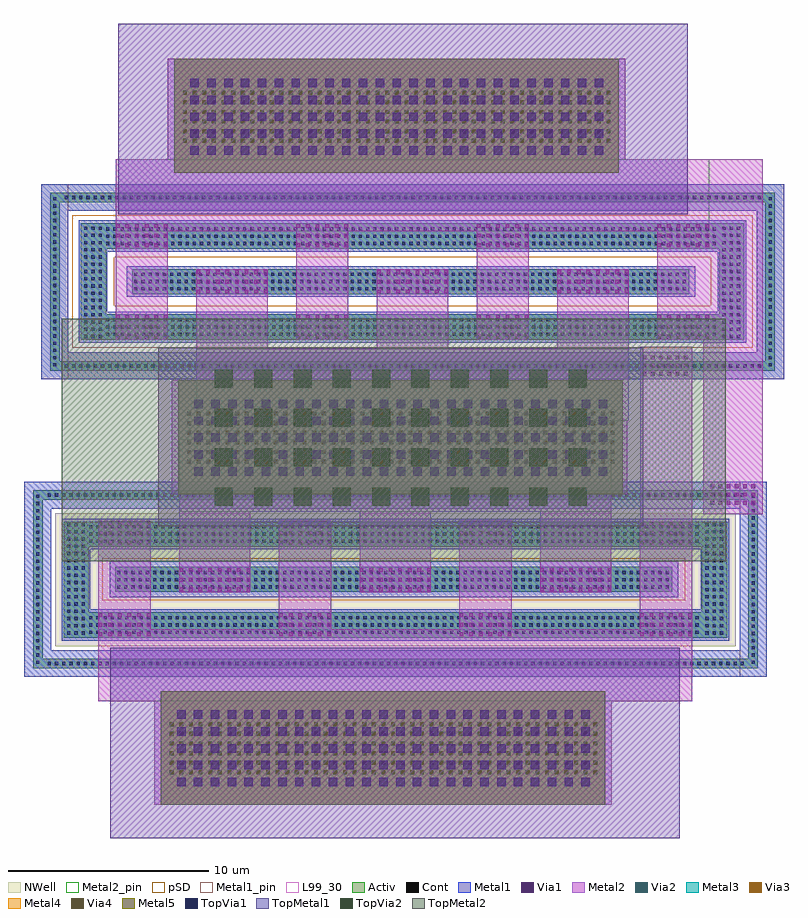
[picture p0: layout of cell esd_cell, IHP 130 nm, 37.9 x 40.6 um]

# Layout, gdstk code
from math import pi, radians
import gdstk
lib = gdstk.Library(unit=1e-6, precision=1e-09)
def R(c, l, rs):  # rectangles x0, y0, x1, y1
    for r in rs: c.add(gdstk.rectangle(r[:2], r[2:], *l))
def A(c, l, x, y, w, h, nx, ny, dx, dy):  # array of equal rectangles
    R(c, l, [(x+i*dx, y+j*dy, x+i*dx+w, y+j*dy+h) for i in range(nx) for j in range(ny)])
def P(c, l, *ps):  # polygons
    for p in ps: c.add(gdstk.Polygon(p, *l))
Activ = (1, 0)
Cont = (6, 0)
Metal1 = (8, 0)
Metal1_pin = (8, 2)
Metal2 = (10, 0)
Metal2_pin = (10, 2)
pSD = (14, 0)
Via1 = (19, 0)
Via2 = (29, 0)
Metal3 = (30, 0)
NWell = (31, 0)
Via3 = (49, 0)
Metal4 = (50, 0)
Via4 = (66, 0)
Metal5 = (67, 0)
L99_30 = (99, 30)
TopVia1 = (125, 0)
TopMetal1 = (126, 0)
TopVia2 = (133, 0)
TopMetal2 = (134, 0)

viamet_4 = lib.new_cell('Viamet$4')
A(viamet_4, TopVia1, 0, 0, 0.42, 0.42, 5, 25, 0.84, 0.84)

viamet_3 = lib.new_cell('Viamet$3')
A(viamet_3, Via4, 0, 0, 0.19, 0.19, 6, 45, 0.48, 0.48)

viamet_5 = lib.new_cell('Viamet$5')
A(viamet_5, Via3, 0, 0, 0.19, 0.19, 6, 45, 0.48, 0.48)

viamet_2 = lib.new_cell('Viamet$2')
A(viamet_2, Via2, 0, 0, 0.19, 0.19, 6, 45, 0.48, 0.48)

diodevss_2kv = lib.new_cell('diodevss_2kv')
R(diodevss_2kv, Activ, [(4.23,4.73,5.49,32.51)])
P(diodevss_2kv, Activ, [(1.98,1.98),(1.98,3.24),(6.51,3.24),(6.51,33.81),(3.24,33.81),(3.24,3.24),(1.98,3.24),(1.98,35.07),(7.77,35.07),(7.77,1.98)],
  [(0.42,0.45),(0.42,0.93),(8.82,0.93),(8.82,36.12),(0.9,36.12),(0.9,0.93),(0.42,0.93),(0.42,36.6),(9.3,36.6),(9.3,0.45)])
A(diodevss_2kv, Cont, 0.64, 0.61, 0.16, 0.16, 24, 2, 0.36, 35.67)
A(diodevss_2kv, Cont, 0.58, 1.145, 0.16, 0.16, 1, 97, 0, 0.36)
A(diodevss_2kv, Cont, 8.98, 1.145, 0.16, 0.16, 1, 97, 0, 0.36)
A(diodevss_2kv, Cont, 2.055, 2.19, 0.16, 0.16, 16, 3, 0.36, 0.36)
A(diodevss_2kv, Cont, 2.165, 3.405, 0.16, 0.16, 3, 85, 0.36, 0.36)
A(diodevss_2kv, Cont, 6.695, 3.405, 0.16, 0.16, 3, 85, 0.36, 0.36)
A(diodevss_2kv, Cont, 4.44, 4.89, 0.16, 0.16, 3, 77, 0.36, 0.36)
A(diodevss_2kv, Cont, 2.055, 34.02, 0.16, 0.16, 16, 3, 0.36, 0.36)
R(diodevss_2kv, Metal1, [(4.11,4.43,5.64,32.78)])
P(diodevss_2kv, Metal1, [(1.83,1.89),(1.83,3.3),(6.36,3.3),(6.36,33.75),(3.36,33.75),(3.36,3.3),(1.83,3.3),(1.83,35.16),(7.92,35.16),(7.92,1.89)],
  [(0,0),(0,1.35),(8.4,1.35),(8.4,35.7),(1.35,35.7),(1.35,1.35),(0,1.35),(0,37.05),(9.72,37.05),(9.72,0)])
R(diodevss_2kv, Metal1_pin, [(0,35.7,9.72,37.05)])
P(diodevss_2kv, Metal2, [(1.98,3.725),(1.98,6.325),(7.38,6.325),(7.38,12.725),(1.98,12.725),(1.98,15.325),(7.38,15.325),(7.38,21.725),(1.98,21.725),(1.98,24.325),(7.38,24.325),(7.38,30.725),(1.98,30.725),(1.98,33.325),(10.98,33.325),(10.98,3.725)],
  [(4.235,7.74),(4.235,7.745),(-2.08,7.745),(-2.08,29.305),(5.3,29.305),(5.3,29.3),(5.485,29.3),(5.485,25.74),(4.235,25.74),(4.235,25.745),(1.52,25.745),(1.52,20.305),(5.3,20.305),(5.3,20.3),(5.485,20.3),(5.485,16.74),(4.235,16.74),(4.235,16.745),(1.52,16.745),(1.52,11.305),(5.3,11.305),(5.3,11.3),(5.485,11.3),(5.485,7.74)])
R(diodevss_2kv, Metal2_pin, [(7.38,3.725,10.98,33.325), (-2.08,7.745,1.52,29.305)])
P(diodevss_2kv, pSD, [(1.56,1.56),(1.56,3.66),(6.09,3.66),(6.09,33.39),(3.66,33.39),(3.66,3.66),(1.56,3.66),(1.56,35.49),(8.19,35.49),(8.19,1.56)])
A(diodevss_2kv, Via1, 2.03, 3.73, 0.19, 0.19, 3, 6, 0.48, 0.48)
A(diodevss_2kv, Via1, 6.59, 3.73, 0.19, 0.19, 3, 6, 0.48, 0.48)
A(diodevss_2kv, Via1, 4.285, 7.745, 0.19, 0.19, 3, 8, 0.48, 0.48)
A(diodevss_2kv, Via1, 2.03, 12.73, 0.19, 0.19, 3, 6, 0.48, 0.48)
A(diodevss_2kv, Via1, 6.59, 12.73, 0.19, 0.19, 3, 6, 0.48, 0.48)
A(diodevss_2kv, Via1, 4.285, 16.745, 0.19, 0.19, 3, 8, 0.48, 0.48)
A(diodevss_2kv, Via1, 2.03, 21.73, 0.19, 0.19, 3, 6, 0.48, 0.48)
A(diodevss_2kv, Via1, 6.59, 21.73, 0.19, 0.19, 3, 6, 0.48, 0.48)
A(diodevss_2kv, Via1, 4.285, 25.745, 0.19, 0.19, 3, 8, 0.48, 0.48)
A(diodevss_2kv, Via1, 2.03, 30.73, 0.19, 0.19, 3, 6, 0.48, 0.48)
A(diodevss_2kv, Via1, 6.59, 30.73, 0.19, 0.19, 3, 6, 0.48, 0.48)
P(diodevss_2kv, NWell, [(0,0),(0,1.35),(8.4,1.35),(8.4,35.7),(1.35,35.7),(1.35,1.35),(0,1.35),(0,37.05),(9.72,37.05),(9.72,0)])
R(diodevss_2kv, L99_30, [(0,0,9.72,37.05)])
diodevss_2kv.add(gdstk.Label('PAD', (-0.28,18.525), layer=63, texttype=0))
diodevss_2kv.add(gdstk.Label('VSS', (9.18,18.525), layer=63, texttype=0))
diodevss_2kv.add(gdstk.Label('VDD', (4.86,36.375), layer=63, texttype=0))
diodevss_2kv.add(gdstk.Label('sub!', (3.285,2.385), layer=63, texttype=0))
diodevss_2kv.add(gdstk.Label('diodevss_2kv', (6.3,18.43), layer=63, texttype=0))

diodevdd_2kv = lib.new_cell('diodevdd_2kv')
R(diodevdd_2kv, Activ, [(4.23,4.73,5.49,32.51)])
P(diodevdd_2kv, Activ, [(1.98,1.98),(1.98,3.24),(6.51,3.24),(6.51,33.81),(3.24,33.81),(3.24,3.24),(1.98,3.24),(1.98,35.07),(7.77,35.07),(7.77,1.98)],
  [(0.42,0.45),(0.42,0.93),(8.82,0.93),(8.82,36.12),(0.9,36.12),(0.9,0.93),(0.42,0.93),(0.42,36.6),(9.3,36.6),(9.3,0.45)])
A(diodevdd_2kv, Cont, 0.64, 0.61, 0.16, 0.16, 24, 2, 0.36, 35.67)
A(diodevdd_2kv, Cont, 0.58, 1.145, 0.16, 0.16, 1, 97, 0, 0.36)
A(diodevdd_2kv, Cont, 8.98, 1.145, 0.16, 0.16, 1, 97, 0, 0.36)
A(diodevdd_2kv, Cont, 2.055, 2.19, 0.16, 0.16, 16, 3, 0.36, 0.36)
A(diodevdd_2kv, Cont, 2.165, 3.405, 0.16, 0.16, 3, 85, 0.36, 0.36)
A(diodevdd_2kv, Cont, 6.695, 3.405, 0.16, 0.16, 3, 85, 0.36, 0.36)
A(diodevdd_2kv, Cont, 4.44, 4.89, 0.16, 0.16, 3, 77, 0.36, 0.36)
A(diodevdd_2kv, Cont, 2.055, 34.02, 0.16, 0.16, 16, 3, 0.36, 0.36)
R(diodevdd_2kv, Metal1, [(3.96,4.43,5.76,32.78)])
P(diodevdd_2kv, Metal1, [(1.83,1.89),(1.83,3.3),(6.36,3.3),(6.36,33.75),(3.36,33.75),(3.36,3.3),(1.83,3.3),(1.83,35.16),(7.92,35.16),(7.92,1.89)],
  [(0,0),(0,1.35),(8.4,1.35),(8.4,35.7),(1.35,35.7),(1.35,1.35),(0,1.35),(0,37.05),(9.72,37.05),(9.72,0)])
R(diodevdd_2kv, Metal1_pin, [(0,0,9.72,1.35)])
P(diodevdd_2kv, Metal2, [(1.94,3.735),(1.94,6.335),(7.34,6.335),(7.34,12.735),(1.94,12.735),(1.94,15.335),(7.34,15.335),(7.34,21.735),(1.94,21.735),(1.94,24.335),(7.34,24.335),(7.34,30.735),(1.94,30.735),(1.94,33.335),(10.94,33.335),(10.94,3.735)],
  [(-2.12,7.755),(-2.12,29.315),(5.505,29.315),(5.505,25.755),(1.48,25.755),(1.48,20.315),(5.505,20.315),(5.505,16.755),(1.48,16.755),(1.48,11.315),(5.505,11.315),(5.505,7.755)])
R(diodevdd_2kv, Metal2_pin, [(7.34,3.735,10.94,33.335), (-2.12,7.755,1.48,29.315)])
R(diodevdd_2kv, pSD, [(3.81,4.07,5.91,33.14)])
P(diodevdd_2kv, pSD, [(0,0),(0,1.35),(8.4,1.35),(8.4,35.7),(1.35,35.7),(1.35,1.35),(0,1.35),(0,37.05),(9.72,37.05),(9.72,0)])
A(diodevdd_2kv, Via1, 1.99, 3.74, 0.19, 0.19, 3, 6, 0.48, 0.48)
A(diodevdd_2kv, Via1, 6.55, 3.74, 0.19, 0.19, 3, 6, 0.48, 0.48)
A(diodevdd_2kv, Via1, 4.305, 7.76, 0.19, 0.19, 3, 8, 0.48, 0.48)
A(diodevdd_2kv, Via1, 1.99, 12.74, 0.19, 0.19, 3, 6, 0.48, 0.48)
A(diodevdd_2kv, Via1, 6.55, 12.74, 0.19, 0.19, 3, 6, 0.48, 0.48)
A(diodevdd_2kv, Via1, 4.305, 16.76, 0.19, 0.19, 3, 8, 0.48, 0.48)
A(diodevdd_2kv, Via1, 1.99, 21.74, 0.19, 0.19, 3, 6, 0.48, 0.48)
A(diodevdd_2kv, Via1, 6.55, 21.74, 0.19, 0.19, 3, 6, 0.48, 0.48)
A(diodevdd_2kv, Via1, 4.305, 25.76, 0.19, 0.19, 3, 8, 0.48, 0.48)
A(diodevdd_2kv, Via1, 1.99, 30.74, 0.19, 0.19, 3, 6, 0.48, 0.48)
A(diodevdd_2kv, Via1, 6.55, 30.74, 0.19, 0.19, 3, 6, 0.48, 0.48)
R(diodevdd_2kv, NWell, [(1.56,1.56,8.19,35.49)])
R(diodevdd_2kv, L99_30, [(0,0,9.72,37.05)])
diodevdd_2kv.add(gdstk.Label('VDD', (9.15,18.99), layer=63, texttype=0))
diodevdd_2kv.add(gdstk.Label('PAD', (-0.32,18.535), layer=63, texttype=0))
diodevdd_2kv.add(gdstk.Label('VSS', (4.86,0.675), layer=63, texttype=0))
diodevdd_2kv.add(gdstk.Label('sub!', (8.33,0.625), layer=63, texttype=0))
diodevdd_2kv.add(gdstk.Label('diodevdd_2kv', (6.3,18.43), layer=63, texttype=0))

viamet_1 = lib.new_cell('Viamet$1')
A(viamet_1, Via1, 0, 0, 0.19, 0.19, 3, 6, 0.41, 0.41)

viamet = lib.new_cell('Viamet')
A(viamet, TopVia2, 0, 0, 0.9, 0.9, 4, 10, 1.96, 1.96)

esd_cell = lib.new_cell('esd_cell')
R(esd_cell, Metal2, [(16.065,-5.03,18.655,4.875)])
P(esd_cell, Metal2, [(19.21,-3.475),(19.21,14.23),(22.17,14.23),(22.17,4.815),(22.17,-3.475)],
  [(-7.3,-2.48),(-7.3,3.2),(15.415,3.2),(15.415,1.63),(15.415,1.06),(15.415,-0.72),(15.415,-2.48)],
  [(-8.175,-17.98),(-8.175,-12.3),(14.64,-12.3),(14.64,-13.87),(14.64,-14.44),(14.64,-16.22),(14.645,-16.22),(14.645,-17.98)],
  [(-7.5,13.55),(-7.5,19.23),(15.315,19.23),(15.315,17.66),(15.315,17.09),(15.315,15.31),(15.32,15.31),(15.32,13.55)])
P(esd_cell, Metal3, [(-7.845,-17.98),(-7.845,-12.3),(14.315,-12.3),(14.315,-13.87),(14.315,-14.44),(14.315,-16.22),(14.315,-17.98)],
  [(-6.97,-2.48),(-6.97,3.2),(15.19,3.2),(15.19,1.63),(15.19,1.06),(15.19,-0.72),(15.19,-2.48)],
  [(-7.17,13.55),(-7.17,19.23),(14.99,19.23),(14.99,17.66),(14.99,17.09),(14.99,15.31),(14.99,13.55)])
P(esd_cell, Metal4, [(-7.845,-17.98),(-7.845,-12.3),(14.315,-12.3),(14.315,-13.87),(14.315,-14.44),(14.315,-16.22),(14.315,-17.98)],
  [(-6.97,-2.48),(-6.97,3.2),(15.19,3.2),(15.19,1.63),(15.19,1.06),(15.19,-0.72),(15.19,-2.48)],
  [(-7.17,13.55),(-7.17,19.23),(14.99,19.23),(14.99,17.66),(14.99,17.09),(14.99,15.31),(14.99,13.55)])
P(esd_cell, Metal5, [(-7.845,-17.98),(-7.845,-12.3),(14.315,-12.3),(14.315,-13.87),(14.315,-14.44),(14.315,-16.22),(14.315,-17.98)],
  [(-6.97,-2.48),(-6.97,3.2),(15.19,3.2),(15.19,1.63),(15.19,1.06),(15.19,-0.72),(15.19,-2.48)],
  [(-7.17,13.55),(-7.17,19.23),(14.99,19.23),(14.99,17.66),(14.99,17.09),(14.99,15.31),(14.99,13.55)])
R(esd_cell, TopMetal1, [(-10.37,-19.63,18.03,-10.13), (-7.975,-4.08,16.225,4.82), (-9.97,11.47,18.43,20.97)])
R(esd_cell, TopMetal2, [(-12.77,-5.83,20.33,6.27)])
esd_cell.add(gdstk.Reference(viamet_4, (14.22,14.45), rotation=pi/2))
esd_cell.add(gdstk.Reference(viamet_3, (14.585,15.045), rotation=pi/2))
esd_cell.add(gdstk.Reference(viamet_5, (14.585,15.045), rotation=pi/2))
esd_cell.add(gdstk.Reference(viamet_2, (14.585,15.045), rotation=pi/2))
esd_cell.add(gdstk.Reference(viamet_4, (13.555,-17.045), rotation=pi/2))
esd_cell.add(gdstk.Reference(viamet_3, (13.92,-16.45), rotation=pi/2))
esd_cell.add(gdstk.Reference(viamet_5, (13.92,-16.45), rotation=pi/2))
esd_cell.add(gdstk.Reference(viamet_2, (13.92,-16.45), rotation=pi/2))
esd_cell.add(gdstk.Reference(viamet_4, (14.42,-1.55), rotation=pi/2))
esd_cell.add(gdstk.Reference(viamet_3, (14.785,-0.955), rotation=pi/2))
esd_cell.add(gdstk.Reference(viamet_5, (14.785,-0.955), rotation=pi/2))
esd_cell.add(gdstk.Reference(viamet_2, (14.785,-0.955), rotation=pi/2))
esd_cell.add(gdstk.Reference(diodevss_2kv, (23.24,3.25), rotation=pi/2))
esd_cell.add(gdstk.Reference(diodevdd_2kv, (22.39,-1.865), rotation=3*pi/2, x_reflection=True))
esd_cell.add(gdstk.Reference(viamet_1, (18.43,3.425), rotation=pi/2))
esd_cell.add(gdstk.Reference(viamet_1, (21.8,-3), rotation=pi/2))
esd_cell.add(gdstk.Reference(viamet, (13.4,-3.05), rotation=pi/2))

lib.write_gds('esd_cell.gds')
